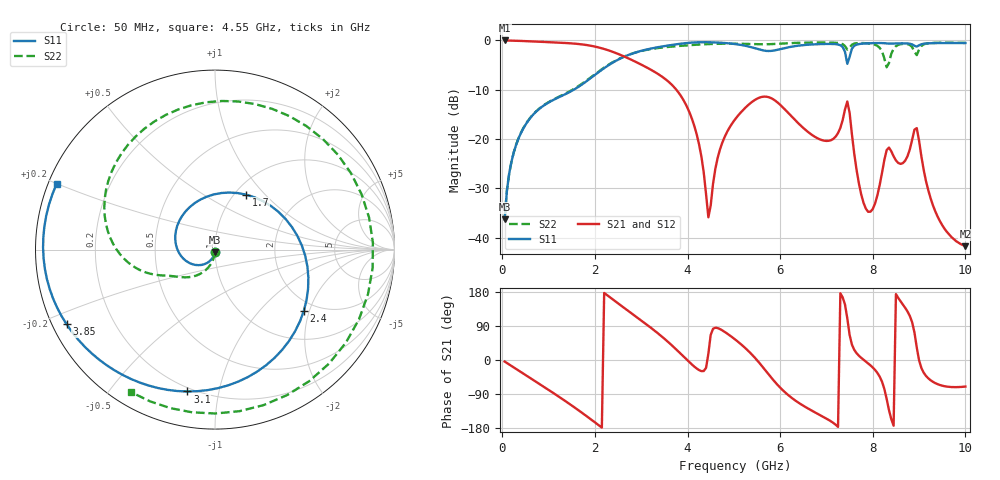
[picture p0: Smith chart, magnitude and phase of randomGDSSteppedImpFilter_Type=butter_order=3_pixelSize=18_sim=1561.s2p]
! freq	dB(S11)	phase(S11)	dB(S12)	phase(S12)
!  dB(S21)	phase(S21)	dB(S22)	phase(S22)
!S-par simulation data
#  GHz  S  DB  R 50
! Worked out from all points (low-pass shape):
!   200 points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, 50 MHz to 10 GHz, reference 50 ohm
!   highest |S21| = -0.01 dB at 50 MHz (marker M1); lowest = -41.7 dB at 10 GHz (marker M2)
!   |S21| within 3 dB of the highest: start of sweep to 2.57 GHz
!   lowest |S11| = -36.3 dB at 50 MHz (marker M3), VSWR 1.03, Z = 49.9 - j1.52 ohm
!   |S11| at or under -10 dB: start of sweep to 1.544 GHz
!   |S22| runs from -36.3 to -0.4 dB; largest |S21 - S12| = 0
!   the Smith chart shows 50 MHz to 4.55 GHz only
!   S11 on the Smith chart (normalised r, x): 50 MHz: 1.00, -0.03; 1.7 GHz: 1.13, +0.79; 2.4 GHz: 1.72, -1.84; 3.1 GHz: 0.18, -0.81; 3.85 GHz: 0.04, -0.24; 4.55 GHz: 0.02, +0.20
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0.05  -36.33 -94.1  -0.01 -4.0  -0.01 -4.0  -36.31 -91.7
0.45  -17.92 -136.9  -0.12 -35.6  -0.12 -35.6  -17.88 -114.9
1.1  -12.09 147.7  -0.40 -86.9  -0.40 -86.9  -12.00 -142.7
1.7  -9.07 60.6  -0.79 -137.4  -0.79 -137.4  -8.92 -156.9
1.75  -8.75 53.0  -0.84 -141.9  -0.84 -141.9  -8.60 -158.2
2.4  -4.42 -34.6  -2.37 158.6  -2.37 158.6  -4.34 170.0
3.1  -1.88 -101.0  -5.39 95.2  -5.39 95.2  -1.95 110.0
3.4  -1.31 -123.1  -7.04 66.5  -7.04 66.5  -1.50 74.6
3.85  -0.67 -153.3  -11.17 16.8  -11.17 16.8  -1.11 2.6
4.45  -0.37 165.0  -35.90 16.6  -35.90 16.6  -0.75 -105.8
4.55  -0.40 157.4  -29.16 82.3  -29.16 82.3  -0.71 -120.3
5.05  -0.77 111.3  -15.73 52.0  -15.73 52.0  -0.67 -175.9
5.35  -1.32 67.1  -12.80 19.4  -12.80 19.4  -0.73 160.3
5.65  -2.07 -2.5  -11.40 -22.4  -11.40 -22.4  -0.79 141.1
6  -1.78 -92.8  -13.06 -72.9  -13.06 -72.9  -0.64 121.7
6.7  -0.81 176.2  -19.25 -134.7  -19.25 -134.7  -0.43 85.3
7.45  -4.75 125.1  -12.39 110.0  -12.39 110.0  -1.87 49.3
7.9  -0.59 113.3  -34.77 -8.9  -34.77 -8.9  -0.60 30.0
8.35  -0.66 91.0  -21.75 -132.2  -21.75 -132.2  -4.59 31.3
8.95  -1.25 66.4  -17.80 33.1  -17.80 33.1  -2.98 3.6
9.35  -0.55 50.0  -34.69 -61.0  -34.69 -61.0  -0.49 -12.1
10  -0.54 22.6  -41.75 -70.1  -41.75 -70.1  -0.51 -37.0
